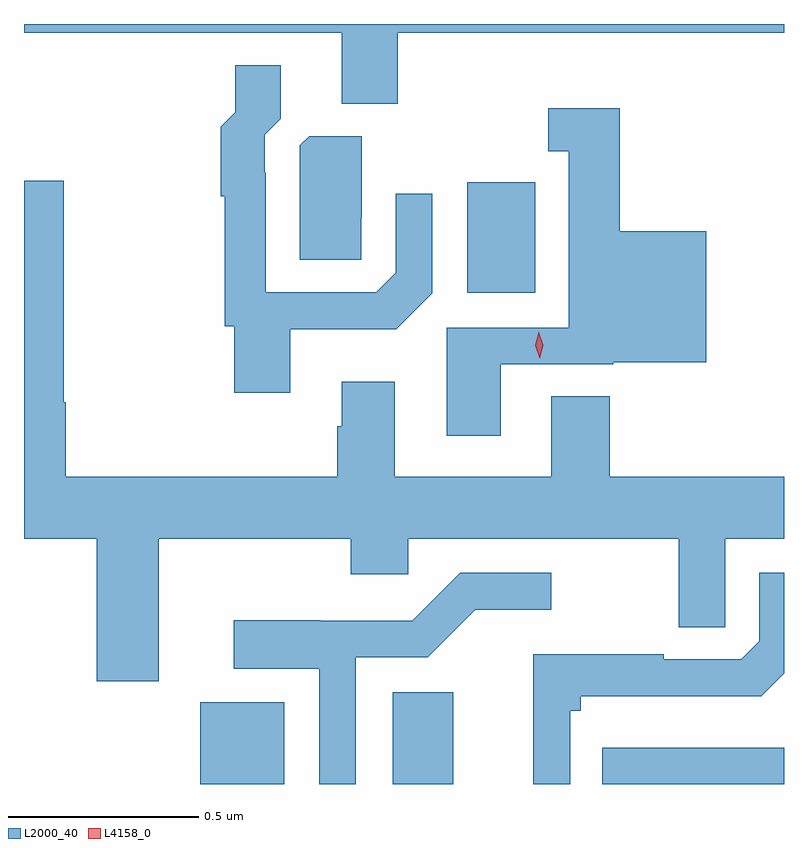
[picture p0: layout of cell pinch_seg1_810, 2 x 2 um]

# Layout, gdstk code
import gdstk
lib = gdstk.Library(unit=1e-6, precision=1e-09)
def R(c, l, rs):  # rectangles x0, y0, x1, y1
    for r in rs: c.add(gdstk.rectangle(r[:2], r[2:], *l))
def P(c, l, *ps):  # polygons
    for p in ps: c.add(gdstk.Polygon(p, *l))
L2000_40 = (2000, 40)
L4158_0 = (4158, 0)

pinch_seg1_810 = lib.new_cell('pinch_seg1_810')
R(pinch_seg1_810, L2000_40, [(393.053,575.063,393.274,575.278), (393.56,575.063,393.718,575.305), (394.111,575.063,394.589,575.158), (393.755,576.356,393.934,576.646)])
P(pinch_seg1_810, L2000_40, [(392.589,577.04),(393.425,577.04),(393.425,576.853),(393.573,576.853),(393.573,577.04),(394.589,577.04),(394.589,577.063),(392.589,577.063)],
  [(393.289,576.26),(393.569,576.26),(393.663,576.354),(393.663,576.616),(393.567,576.616),(393.567,576.408),(393.516,576.357),(393.225,576.357),(393.225,576.671),(393.222,576.671),(393.222,576.771),(393.265,576.814),(393.265,576.955),(393.145,576.955),(393.145,576.831),(393.107,576.792),(393.107,576.61),(393.117,576.61),(393.117,576.267),(393.142,576.267),(393.142,576.093),(393.289,576.093)],
  [(393.844,576.168),(394.14,576.168),(394.14,576.173),(394.384,576.173),(394.384,576.517),(394.157,576.517),(394.157,576.841),(393.969,576.841),(393.969,576.728),(394.022,576.728),(394.022,576.264),(393.701,576.264),(393.701,575.979),(393.844,575.979)],
  [(393.477,576.553),(393.478,576.553),(393.478,576.768),(393.339,576.768),(393.315,576.744),(393.315,576.442),(393.477,576.442)],
  [(392.944,575.708),(393.449,575.708),(393.449,575.615),(393.6,575.615),(393.6,575.708),(394.312,575.708),(394.312,575.476),(394.434,575.476),(394.434,575.708),(394.589,575.708),(394.589,575.872),(394.13,575.872),(394.13,576.083),(393.977,576.083),(393.977,575.872),(393.565,575.872),(393.565,576.121),(393.425,576.121),(393.425,576.005),(393.413,576.005),(393.413,575.872),(392.699,575.872),(392.699,576.068),(392.694,576.068),(392.694,576.651),(392.589,576.651),(392.589,575.708),(392.78,575.708),(392.78,575.334),(392.944,575.334)],
  [(393.462,575.397),(393.651,575.397),(393.776,575.522),(393.976,575.522),(393.976,575.619),(393.737,575.619),(393.611,575.493),(393.369,575.493),(393.369,575.494),(393.141,575.494),(393.141,575.366),(393.366,575.366),(393.366,575.063),(393.462,575.063)],
  [(394.026,575.256),(394.054,575.256),(394.054,575.294),(394.529,575.294),(394.589,575.354),(394.589,575.619),(394.524,575.619),(394.524,575.439),(394.476,575.391),(394.273,575.391),(394.273,575.404),(393.929,575.404),(393.929,575.063),(394.026,575.063)])
P(pinch_seg1_810, L4158_0, [(393.946,576.183),(393.946,576.183),(393.935,576.218),(393.944,576.252),(393.944,576.253),(393.944,576.252),(393.955,576.218),(393.946,576.183)])

lib.write_gds('pinch_seg1_810.gds')
